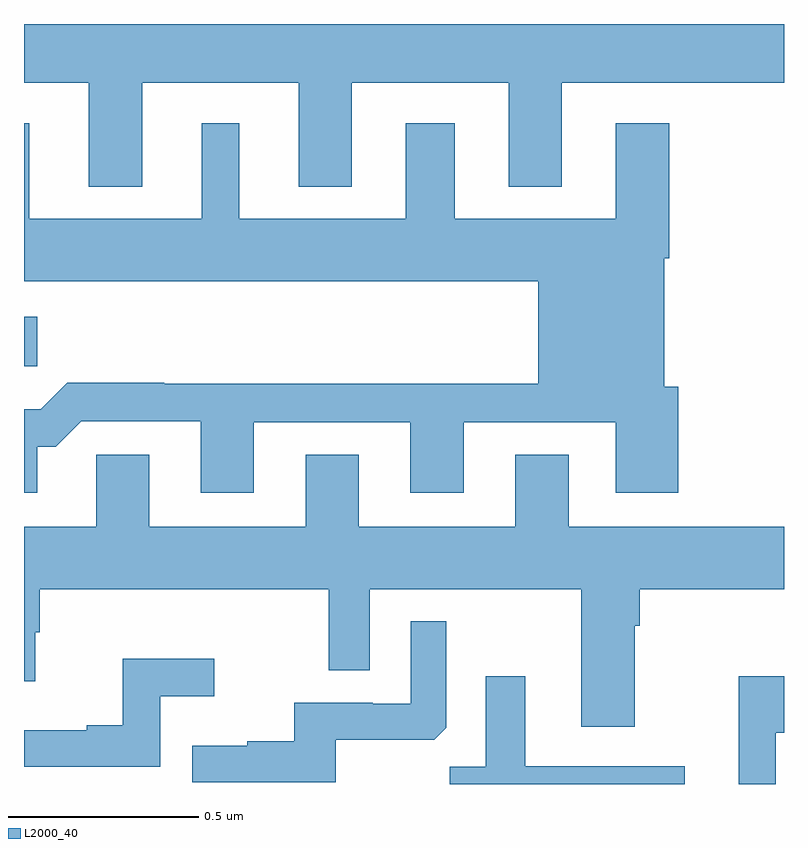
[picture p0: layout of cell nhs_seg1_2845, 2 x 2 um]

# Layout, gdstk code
import gdstk
lib = gdstk.Library(unit=1e-6, precision=1e-09)
def R(c, l, rs):  # rectangles x0, y0, x1, y1
    for r in rs: c.add(gdstk.rectangle(r[:2], r[2:], *l))
def P(c, l, *ps):  # polygons
    for p in ps: c.add(gdstk.Polygon(p, *l))
L2000_40 = (2000, 40)

nhs_seg1_2845 = lib.new_cell('nhs_seg1_2845')
R(nhs_seg1_2845, L2000_40, [(146,572.299,146.035,572.428)])
P(nhs_seg1_2845, L2000_40, [(146.311,573.044),(146.723,573.044),(146.723,572.771),(146.863,572.771),(146.863,573.044),(147.275,573.044),(147.275,572.771),(147.415,572.771),(147.415,573.044),(148,573.044),(148,573.199),(146,573.199),(146,573.044),(146.171,573.044),(146.171,572.771),(146.311,572.771)],
  [(146.035,572.087),(146.084,572.087),(146.151,572.154),(146.465,572.154),(146.465,571.965),(146.605,571.965),(146.605,572.151),(147.017,572.151),(147.017,571.965),(147.157,571.965),(147.157,572.151),(147.557,572.151),(147.557,571.965),(147.722,571.965),(147.722,572.244),(147.685,572.244),(147.685,572.582),(147.698,572.582),(147.698,572.938),(147.557,572.938),(147.557,572.686),(147.133,572.686),(147.133,572.938),(147.005,572.938),(147.005,572.686),(146.566,572.686),(146.566,572.938),(146.468,572.938),(146.468,572.686),(146.014,572.686),(146.014,572.938),(146,572.938),(146,572.522),(147.353,572.522),(147.353,572.252),(146.369,572.252),(146.369,572.255),(146.114,572.255),(146.044,572.185),(146,572.185),(146,571.965),(146.035,571.965)],
  [(147.607,571.616),(147.62,571.616),(147.62,571.712),(148,571.712),(148,571.876),(147.433,571.876),(147.433,572.066),(147.293,572.066),(147.293,571.876),(146.881,571.876),(146.881,572.066),(146.741,572.066),(146.741,571.876),(146.329,571.876),(146.329,572.066),(146.19,572.066),(146.19,571.876),(146,571.876),(146,571.47),(146.029,571.47),(146.029,571.599),(146.042,571.599),(146.042,571.712),(146.802,571.712),(146.802,571.498),(146.91,571.498),(146.91,571.712),(147.467,571.712),(147.467,571.35),(147.607,571.35)],
  [(146.821,571.316),(147.079,571.316),(147.111,571.347),(147.111,571.627),(147.018,571.627),(147.018,571.41),(146.918,571.41),(146.918,571.413),(146.711,571.413),(146.711,571.312),(146.587,571.312),(146.587,571.3),(146.443,571.3),(146.443,571.203),(146.821,571.203)],
  [(146.358,571.43),(146.5,571.43),(146.5,571.529),(146.26,571.529),(146.26,571.354),(146.165,571.354),(146.165,571.341),(146,571.341),(146,571.245),(146.358,571.245)],
  [(147.739,571.246),(147.319,571.246),(147.319,571.483),(147.215,571.483),(147.215,571.244),(147.12,571.244),(147.12,571.199),(147.739,571.199)],
  [(147.978,571.334),(148,571.334),(148,571.483),(147.881,571.483),(147.881,571.199),(147.978,571.199)])

lib.write_gds('nhs_seg1_2845.gds')
